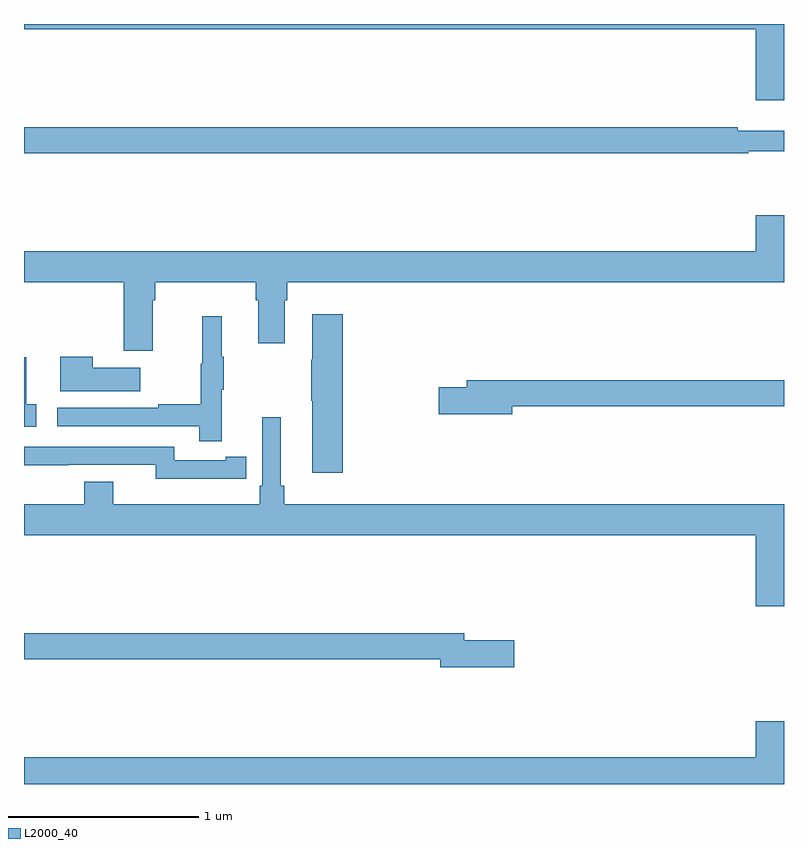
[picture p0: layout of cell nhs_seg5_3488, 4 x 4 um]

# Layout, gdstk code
import gdstk
lib = gdstk.Library(unit=1e-6, precision=1e-09)
def P(c, l, *ps):  # polygons
    for p in ps: c.add(gdstk.Polygon(p, *l))
L2000_40 = (2000, 40)

nhs_seg5_3488 = lib.new_cell('nhs_seg5_3488')
P(nhs_seg5_3488, L2000_40, [(321,844.799),(317,844.799),(317,844.772),(320.852,844.772),(320.852,844.398),(321,844.398)],
  [(320.812,844.128),(321,844.128),(321,844.237),(320.756,844.237),(320.756,844.256),(317,844.256),(317,844.12),(320.812,844.12)],
  [(317.677,843.344),(317.69,843.344),(317.69,843.44),(318.221,843.44),(318.221,843.344),(318.233,843.344),(318.233,843.12),(318.373,843.12),(318.373,843.344),(318.386,843.344),(318.386,843.44),(321,843.44),(321,843.793),(320.852,843.793),(320.852,843.604),(317,843.604),(317,843.44),(317.525,843.44),(317.525,843.078),(317.677,843.078)],
  [(318.677,843.271),(318.518,843.271),(318.518,843.032),(318.511,843.032),(318.511,842.815),(318.518,842.815),(318.518,842.436),(318.677,842.436)],
  [(318.041,842.875),(318.052,842.875),(318.052,843.049),(318.041,843.049),(318.041,843.262),(317.938,843.262),(317.938,843.012),(317.931,843.012),(317.931,842.798),(317.707,842.798),(317.707,842.778),(317.175,842.778),(317.175,842.682),(317.923,842.682),(317.923,842.604),(318.041,842.604)],
  [(317.611,842.989),(317.363,842.989),(317.363,843.049),(317.192,843.049),(317.192,842.867),(317.611,842.867)],
  [(317.065,842.799),(317.012,842.799),(317.012,843.046),(317,843.046),(317,842.679),(317.065,842.679)],
  [(319.57,842.788),(321,842.788),(321,842.924),(319.331,842.924),(319.331,842.888),(319.182,842.888),(319.182,842.746),(319.57,842.746)],
  [(321,842.272),(318.371,842.272),(318.371,842.368),(318.352,842.368),(318.352,842.728),(318.255,842.728),(318.255,842.368),(318.242,842.368),(318.242,842.272),(317.47,842.272),(317.47,842.389),(317.318,842.389),(317.318,842.272),(317,842.272),(317,842.108),(320.852,842.108),(320.852,841.734),(321,841.734)],
  [(318.062,842.406),(318.17,842.406),(318.17,842.522),(318.062,842.522),(318.062,842.502),(317.79,842.502),(317.79,842.574),(317,842.574),(317,842.477),(317.234,842.477),(317.234,842.478),(317.694,842.478),(317.694,842.405),(318.062,842.405)],
  [(319.579,841.556),(319.318,841.556),(319.318,841.592),(317,841.592),(317,841.456),(319.19,841.456),(319.19,841.414),(319.579,841.414)],
  [(321,841.129),(320.852,841.129),(320.852,840.94),(317,840.94),(317,840.799),(321,840.799)])

lib.write_gds('nhs_seg5_3488.gds')
